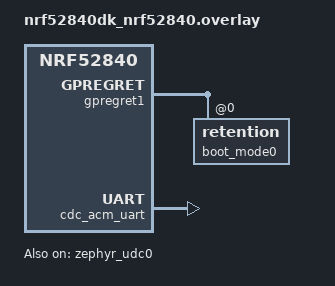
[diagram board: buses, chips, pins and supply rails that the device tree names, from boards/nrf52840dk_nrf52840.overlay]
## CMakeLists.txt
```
#
# Copyright (c) 2023 Nordic Semiconductor ASA
#
# SPDX-License-Identifier: Apache-2.0
#

cmake_minimum_required(VERSION 3.20.0)
find_package(Zephyr REQUIRED HINTS $ENV{ZEPHYR_BASE})
project(mcuboot_recovery_retention)

if(NOT (DEFINED SYSBUILD))
  message(FATAL_ERROR "This test must be built with sysbuild.")
endif()

FILE(GLOB app_sources
	src/*.c
)

target_sources(app PRIVATE ${app_sources})
```

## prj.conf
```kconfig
#
# Copyright (c) 2023 Nordic Semiconductor ASA
#
# SPDX-License-Identifier: Apache-2.0
#
CONFIG_RETAINED_MEM=y
CONFIG_RETENTION=y
CONFIG_RETENTION_BOOT_MODE=y
CONFIG_REBOOT=y
CONFIG_LOG=y
```

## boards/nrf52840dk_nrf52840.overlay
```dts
/* SPDX-License-Identifier: Apache-2.0 */

/ {
	chosen {
		zephyr,boot-mode = &boot_mode0;
		zephyr,uart-mcumgr = &cdc_acm_uart;
	};
};

&gpregret1 {
	status = "okay";

	boot_mode0: boot_mode@0 {
		compatible = "zephyr,retention";
		status = "okay";
		reg = <0x0 0x1>;
	};
};

&zephyr_udc0 {
	status = "okay";

	cdc_acm_uart: cdc_acm_uart {
		compatible = "zephyr,cdc-acm-uart";
	};
};

/delete-node/ &boot_partition;
/delete-node/ &slot0_partition;
/delete-node/ &slot1_partition;

&flash0 {
	partitions {
		compatible = "fixed-partitions";
		#address-cells = <1>;
		#size-cells = <1>;

		boot_partition: partition@0 {
			label = "mcuboot";
			reg = <0x00000000 0x00020000>;
		};
		slot0_partition: partition@20000 {
			label = "image-0";
			reg = <0x00020000 0x00020000>;
		};
		slot1_partition: partition@40000 {
			label = "image-1";
			reg = <0x00040000 0x00020000>;
		};
	};
};
```

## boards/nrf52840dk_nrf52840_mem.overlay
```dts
/* SPDX-License-Identifier: Apache-2.0 */

/ {
	sram@2003FC00 {
		compatible = "zephyr,memory-region", "mmio-sram";
		reg = <0x2003FC00 DT_SIZE_K(1)>;
		zephyr,memory-region = "RetainedMem";
		status = "okay";

		retainedmem {
			compatible = "zephyr,retained-ram";
			status = "okay";
			#address-cells = <1>;
			#size-cells = <1>;

			boot_mode0: boot_mode@0 {
				compatible = "zephyr,retention";
				status = "okay";
				reg = <0x0 0x100>;
				prefix = [08 04];
				checksum = <1>;
			};
		};
	};


	chosen {
		zephyr,boot-mode = &boot_mode0;
		zephyr,uart-mcumgr = &cdc_acm_uart;
	};
};

&zephyr_udc0 {
	status = "okay";

	cdc_acm_uart: cdc_acm_uart {
		compatible = "zephyr,cdc-acm-uart";
	};
};

/delete-node/ &gpregret1;
/delete-node/ &gpregret2;
/delete-node/ &boot_partition;
/delete-node/ &slot0_partition;
/delete-node/ &slot1_partition;

&sram0 {
	reg = <0x20000000 DT_SIZE_K(255)>;
};

&flash0 {
	partitions {
		compatible = "fixed-partitions";
		#address-cells = <1>;
		#size-cells = <1>;

		boot_partition: partition@0 {
			label = "mcuboot";
			reg = <0x00000000 0x00020000>;
		};
		slot0_partition: partition@20000 {
			label = "image-0";
			reg = <0x00020000 0x00020000>;
		};
		slot1_partition: partition@40000 {
			label = "image-1";
			reg = <0x00040000 0x00020000>;
		};
	};
};
```

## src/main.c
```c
/*
 * Copyright (c) 2023 Nordic Semiconductor ASA
 *
 * SPDX-License-Identifier: Apache-2.0
 */

#include <stdint.h>
#include <zephyr/sys/reboot.h>
#include <zephyr/retention/bootmode.h>
#include <zephyr/kernel.h>
#include <stdio.h>

int main(void)
{
	printf("Waiting...\n");
	k_sleep(K_SECONDS(1));

	int rc = bootmode_set(BOOT_MODE_TYPE_BOOTLOADER);

	if (rc == 0) {
		sys_reboot(SYS_REBOOT_WARM);
	} else {
		printf("Error, failed to set boot mode: %d\n", rc);
	}

	return 0;
}
```
